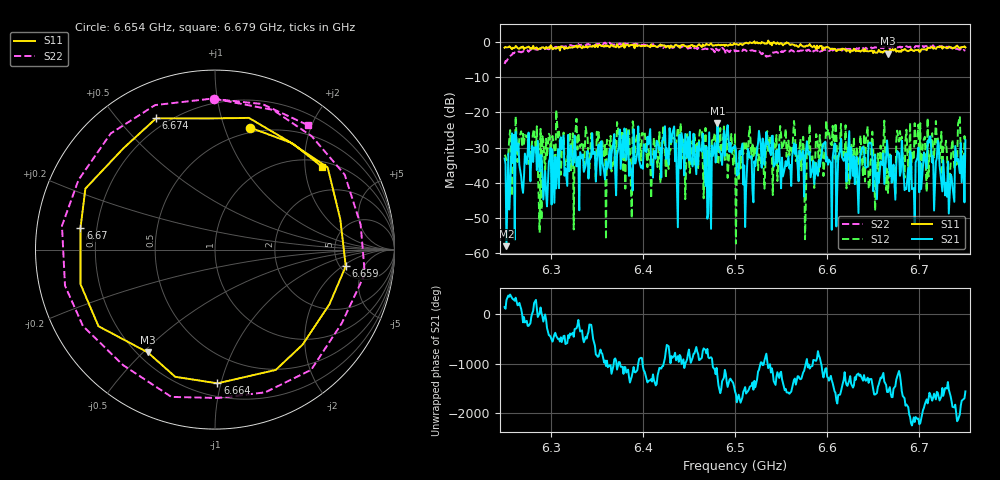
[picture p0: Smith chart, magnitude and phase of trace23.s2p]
# Hz S RI R 50
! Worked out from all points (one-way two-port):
!   401 points, 6.25 GHz to 6.75 GHz, reference 50 ohm
!   highest |S21| = -23.10 dB at 6.481 GHz (marker M1); lowest = -58.1 dB at 6.252 GHz (marker M2)
!   lowest |S11| = -3.3 dB at 6.666 GHz (marker M3), VSWR 5.34, Z = 12 - j25.8 ohm
!   |S11| at or under -10 dB: nowhere
!   |S22| runs from -6.2 to 0.1 dB; largest |S21 - S12| = 0.12
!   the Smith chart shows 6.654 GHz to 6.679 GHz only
!   S11 on the Smith chart (normalised r, x): 6.654 GHz: 0.45, +1.23; 6.659 GHz: 5.60, -2.25; 6.664 GHz: 0.29, -0.98; 6.67 GHz: 0.14, +0.08; 6.674 GHz: 0.16, +0.64; 6.679 GHz: 1.14, +2.45
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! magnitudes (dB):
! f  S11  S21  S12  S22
! 6.25 GHz  -1.6  -33.1  -32.1  -6.2
! 6.252 GHz  -1.5  -58.1  -33.6  -5.5
! 6.334 GHz  -1.7  -33.1  -28.6  -0.7
! 6.418 GHz  -0.9  -30.6  -25.6  -1.0
! 6.464 GHz  -1.4  -31.2  -24.8  -2.0
! 6.471 GHz  -0.7  -48.8  -34.2  -2.3
! 6.481 GHz  -0.8  -23.1  -34.8  -2.1
! 6.5 GHz  -0.5  -29.4  -26.0  -2.7
! 6.584 GHz  -1.4  -36.0  -32.3  -2.1
! 6.601 GHz  -1.4  -34.9  -24.8  -2.5
! 6.654 GHz  -3.0  -44.7  -35.7  -1.5
! 6.659 GHz  -2.7  -34.6  -33.2  -1.7
! 6.664 GHz  -2.6  -32.6  -42.0  -1.5
! 6.666 GHz  -3.3  -31.7  -42.9  -1.4
! 6.668 GHz  -2.2  -38.1  -31.9  -1.7
! 6.67 GHz  -2.4  -40.0  -35.2  -1.3
! 6.674 GHz  -1.9  -44.9  -43.6  -1.2
! 6.679 GHz  -2.5  -38.1  -25.3  -1.3
! 6.695 GHz  -2.4  -51.8  -23.1  -1.5
! 6.711 GHz  -1.6  -26.9  -32.3  -1.4
! 6.735 GHz  -1.5  -38.3  -30.0  -1.7
! 6.75 GHz  -1.5  -27.9  -28.6  -2.4
